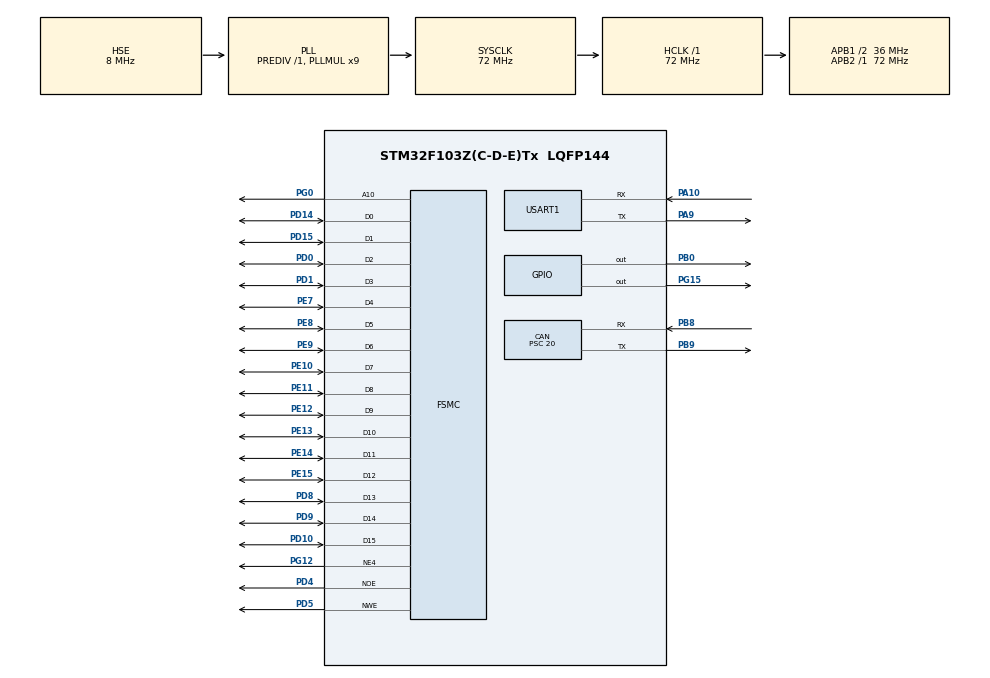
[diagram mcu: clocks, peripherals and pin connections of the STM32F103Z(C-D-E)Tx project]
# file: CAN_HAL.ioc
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CAN.ABOM=ENABLE
CAN.AWUM=ENABLE
CAN.BS1=CAN_BS1_13TQ
CAN.BS2=CAN_BS2_4TQ
CAN.CalculateBaudRate=100000
CAN.CalculateTimeBit=10000
CAN.CalculateTimeQuantum=555.5555555555555
CAN.Mode=CAN_MODE_NORMAL
CAN.Prescaler=20
CAN.SJW=CAN_SJW_1TQ
CAN.TXFP=ENABLE
FSMC.DataSetupTime1=71
Mcu.Family=STM32F1
Mcu.Name=STM32F103Z(C-D-E)Tx
Mcu.Package=LQFP144
NVIC.PriorityGroup=NVIC_PRIORITYGROUP_4
NVIC.USB_LP_CAN1_RX0_IRQn=true\:0\:0\:false\:false\:true\:true\:true\:true
OSC_IN.Mode=HSE-External-Oscillator
OSC_IN.Signal=RCC_OSC_IN
OSC_OUT.Mode=HSE-External-Oscillator
OSC_OUT.Signal=RCC_OSC_OUT
PA10.Mode=Asynchronous
PA10.Signal=USART1_RX
PA13.Mode=Serial_Wire
PA13.Signal=SYS_JTMS-SWDIO
PA14.Mode=Serial_Wire
PA14.Signal=SYS_JTCK-SWCLK
PA9.Mode=Asynchronous
PA9.Signal=USART1_TX
PB0.Signal=GPIO_Output
PB8.Mode=CAN_Activate
PB8.Signal=CAN_RX
PB9.Mode=CAN_Activate
PB9.Signal=CAN_TX
PC14-OSC32_IN.Mode=LSE-External-Oscillator
PC14-OSC32_IN.Signal=RCC_OSC32_IN
PC15-OSC32_OUT.Mode=LSE-External-Oscillator
PC15-OSC32_OUT.Signal=RCC_OSC32_OUT
PD0.Signal=FSMC_D2_DA2
PD1.Signal=FSMC_D3_DA3
PD10.Signal=FSMC_D15_DA15
PD14.Signal=FSMC_D0_DA0
PD15.Signal=FSMC_D1_DA1
PD4.Signal=FSMC_NOE
PD5.Signal=FSMC_NWE
PD8.Signal=FSMC_D13_DA13
PD9.Signal=FSMC_D14_DA14
PE10.Signal=FSMC_D7_DA7
PE11.Signal=FSMC_D8_DA8
PE12.Signal=FSMC_D9_DA9
PE13.Signal=FSMC_D10_DA10
PE14.Signal=FSMC_D11_DA11
PE15.Signal=FSMC_D12_DA12
PE7.Signal=FSMC_D4_DA4
PE8.Signal=FSMC_D5_DA5
PE9.Signal=FSMC_D6_DA6
PG0.Signal=FSMC_A10
PG12.Mode=NorPsramChipSelect4_1
PG12.Signal=FSMC_NE4
PG15.PinState=GPIO_PIN_SET
PG15.Signal=GPIO_Output
ProjectManager.HeapSize=0x200
ProjectManager.StackSize=0x400
ProjectManager.TargetToolchain=MDK-ARM V5.32
RCC.AHBFreq_Value=72000000
RCC.APB1CLKDivider=RCC_HCLK_DIV2
RCC.APB1Freq_Value=36000000
RCC.APB1TimFreq_Value=72000000
RCC.APB2Freq_Value=72000000
RCC.APB2TimFreq_Value=72000000
RCC.HCLKFreq_Value=72000000
RCC.PLLMUL=RCC_PLL_MUL9
RCC.PLLSourceVirtual=RCC_PLLSOURCE_HSE
RCC.SYSCLKFreq_VALUE=72000000
RCC.SYSCLKSource=RCC_SYSCLKSOURCE_PLLCLK
RCC.USBFreq_Value=72000000
SH.FSMC_A10.0=FSMC_A10,A10_1
SH.FSMC_D0_DA0.0=FSMC_D0,16b-d1
SH.FSMC_D10_DA10.0=FSMC_D10,16b-d1
SH.FSMC_D11_DA11.0=FSMC_D11,16b-d1
SH.FSMC_D12_DA12.0=FSMC_D12,16b-d1
SH.FSMC_D13_DA13.0=FSMC_D13,16b-d1
SH.FSMC_D14_DA14.0=FSMC_D14,16b-d1
SH.FSMC_D15_DA15.0=FSMC_D15,16b-d1
SH.FSMC_D1_DA1.0=FSMC_D1,16b-d1
SH.FSMC_D2_DA2.0=FSMC_D2,16b-d1
SH.FSMC_D3_DA3.0=FSMC_D3,16b-d1
SH.FSMC_D4_DA4.0=FSMC_D4,16b-d1
SH.FSMC_D5_DA5.0=FSMC_D5,16b-d1
SH.FSMC_D6_DA6.0=FSMC_D6,16b-d1
SH.FSMC_D7_DA7.0=FSMC_D7,16b-d1
SH.FSMC_D8_DA8.0=FSMC_D8,16b-d1
SH.FSMC_D9_DA9.0=FSMC_D9,16b-d1
SH.FSMC_NOE.0=FSMC_NOE,Lcd1
SH.FSMC_NWE.0=FSMC_NWE,Lcd1
USART1.VirtualMode=VM_ASYNC
board=custom

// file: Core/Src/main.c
/* USER CODE BEGIN Header */
/**
  ******************************************************************************
  * @file           : main.c
  * @brief          : Main program body
  ******************************************************************************
  * @attention
  *
  * Copyright (c) 2026 STMicroelectronics.
  * All rights reserved.
  *
  * This software is licensed under terms that can be found in the LICENSE file
  * in the root directory of this software component.
  * If no LICENSE file comes with this software, it is provided AS-IS.
  *
  ******************************************************************************
  */
/* USER CODE END Header */
#include "main.h"
#include "can.h"
#include "usart.h"
#include "gpio.h"

/* USER CODE BEGIN Includes */
#include <string.h>
#include "lvgl.h"
#include "lv_port_lcd_stm32.h"
#include <stdio.h>
#include "car_tachometer.h"
#include "motor_can_rx.h"
#include "fsmc.h"
/* USER CODE END Includes */

void SystemClock_Config(void);

int main(void)
{

  /* MCU Configuration--------------------------------------------------------*/

  /* Reset of all peripherals, Initializes the Flash interface and the Systick. */
  HAL_Init();

  /* Configure the system clock */
  SystemClock_Config();

  /* Initialize all configured peripherals */
  MX_GPIO_Init();
  MX_USART1_UART_Init();
  MX_CAN_Init();
  /* USER CODE BEGIN 2 */
	MX_FSMC_Init();

lv_init();
lv_tick_set_cb(HAL_GetTick);
lv_port_disp_init();
CarTachometer_Create(lv_screen_active());
MotorCanRx_Init();

static uint32_t dashboard_tick;
  /* USER CODE END 2 */

  /* Infinite loop */
  while (1)
  {

    /* USER CODE BEGIN 3 */
		 MotorCanData_t data;

    if((HAL_GetTick() - dashboard_tick) >= 50U)
    {
        dashboard_tick = HAL_GetTick();
        data = MotorCanRx_GetData();

        if(data.valid)
        {
            CarTachometer_SetOnline(true);
            CarTachometer_SetRpm(
                (uint16_t)(data.rpm + 0.5f));
        }
        else
        {
            CarTachometer_SetOnline(false);
        }
    }

    lv_timer_handler();
    HAL_Delay(5);

  }
  /* USER CODE END 3 */
}

void SystemClock_Config(void)
{
  RCC_OscInitTypeDef RCC_OscInitStruct = {0};
  RCC_ClkInitTypeDef RCC_ClkInitStruct = {0};

  /** Initializes the RCC Oscillators according to the specified parameters
  * in the RCC_OscInitTypeDef structure.
  */
  RCC_OscInitStruct.OscillatorType = RCC_OSCILLATORTYPE_HSE;
  RCC_OscInitStruct.HSEState = RCC_HSE_ON;
  RCC_OscInitStruct.HSEPredivValue = RCC_HSE_PREDIV_DIV1;
  RCC_OscInitStruct.HSIState = RCC_HSI_ON;
  RCC_OscInitStruct.PLL.PLLState = RCC_PLL_ON;
  RCC_OscInitStruct.PLL.PLLSource = RCC_PLLSOURCE_HSE;
  RCC_OscInitStruct.PLL.PLLMUL = RCC_PLL_MUL9;
  if (HAL_RCC_OscConfig(&RCC_OscInitStruct) != HAL_OK)
  {
    Error_Handler();
  }

  /** Initializes the CPU, AHB and APB buses clocks
  */
  RCC_ClkInitStruct.ClockType = RCC_CLOCKTYPE_HCLK|RCC_CLOCKTYPE_SYSCLK
                              |RCC_CLOCKTYPE_PCLK1|RCC_CLOCKTYPE_PCLK2;
  RCC_ClkInitStruct.SYSCLKSource = RCC_SYSCLKSOURCE_PLLCLK;
  RCC_ClkInitStruct.AHBCLKDivider = RCC_SYSCLK_DIV1;
  RCC_ClkInitStruct.APB1CLKDivider = RCC_HCLK_DIV2;
  RCC_ClkInitStruct.APB2CLKDivider = RCC_HCLK_DIV1;

  if (HAL_RCC_ClockConfig(&RCC_ClkInitStruct, FLASH_LATENCY_2) != HAL_OK)
  {
    Error_Handler();
  }
}

void Error_Handler(void)
{
  __disable_irq();
  while (1)
  {
  }
}
